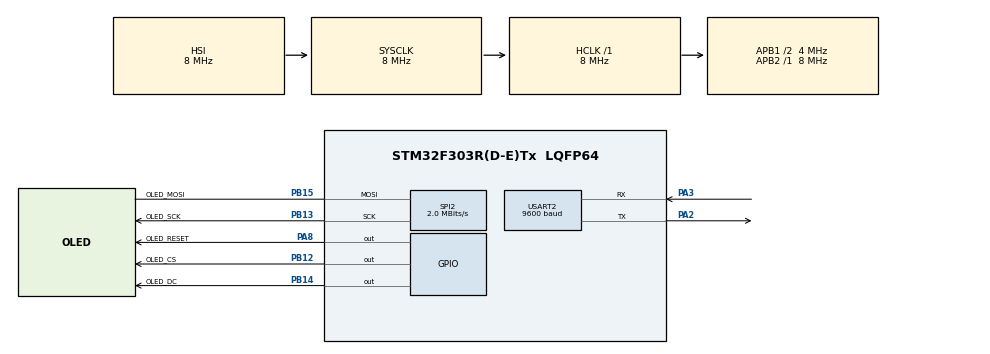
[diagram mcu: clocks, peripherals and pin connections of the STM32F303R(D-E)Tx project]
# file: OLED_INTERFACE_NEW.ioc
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Dma.Request0=SPI2_TX
Dma.Request1=USART2_RX
Dma.Request2=USART2_TX
Dma.SPI2_TX.0.Direction=DMA_MEMORY_TO_PERIPH
Dma.SPI2_TX.0.Instance=DMA1_Channel5
Dma.SPI2_TX.0.MemDataAlignment=DMA_MDATAALIGN_BYTE
Dma.SPI2_TX.0.MemInc=DMA_MINC_ENABLE
Dma.SPI2_TX.0.Mode=DMA_NORMAL
Dma.SPI2_TX.0.PeriphDataAlignment=DMA_PDATAALIGN_BYTE
Dma.SPI2_TX.0.PeriphInc=DMA_PINC_DISABLE
Dma.SPI2_TX.0.Priority=DMA_PRIORITY_LOW
Dma.USART2_RX.1.Direction=DMA_PERIPH_TO_MEMORY
Dma.USART2_RX.1.Instance=DMA1_Channel6
Dma.USART2_RX.1.MemDataAlignment=DMA_MDATAALIGN_BYTE
Dma.USART2_RX.1.MemInc=DMA_MINC_ENABLE
Dma.USART2_RX.1.Mode=DMA_NORMAL
Dma.USART2_RX.1.PeriphDataAlignment=DMA_PDATAALIGN_BYTE
Dma.USART2_RX.1.PeriphInc=DMA_PINC_DISABLE
Dma.USART2_RX.1.Priority=DMA_PRIORITY_LOW
Dma.USART2_TX.2.Direction=DMA_MEMORY_TO_PERIPH
Dma.USART2_TX.2.Instance=DMA1_Channel7
Dma.USART2_TX.2.MemDataAlignment=DMA_MDATAALIGN_BYTE
Dma.USART2_TX.2.MemInc=DMA_MINC_ENABLE
Dma.USART2_TX.2.Mode=DMA_NORMAL
Dma.USART2_TX.2.PeriphDataAlignment=DMA_PDATAALIGN_BYTE
Dma.USART2_TX.2.PeriphInc=DMA_PINC_DISABLE
Dma.USART2_TX.2.Priority=DMA_PRIORITY_LOW
Mcu.Family=STM32F3
Mcu.Name=STM32F303R(D-E)Tx
Mcu.Package=LQFP64
NVIC.DMA1_Channel5_IRQn=true\:0\:0\:false\:false\:true\:false\:true
NVIC.DMA1_Channel6_IRQn=true\:0\:0\:false\:false\:true\:false\:true
NVIC.DMA1_Channel7_IRQn=true\:0\:0\:false\:false\:true\:false\:true
NVIC.PriorityGroup=NVIC_PRIORITYGROUP_4
NVIC.SPI2_IRQn=true\:0\:0\:false\:false\:true\:true\:true
NVIC.USART2_IRQn=true\:0\:0\:false\:false\:true\:true\:true
PA2.Mode=Asynchronous
PA2.Signal=USART2_TX
PA3.Mode=Asynchronous
PA3.Signal=USART2_RX
PA8.GPIO_Label=OLED_RESET
PA8.Signal=GPIO_Output
PB12.GPIO_Label=OLED_CS
PB12.Signal=GPIO_Output
PB13.GPIO_Label=OLED_SCK
PB13.Mode=Simplex_Bidirectional_Master
PB13.Signal=SPI2_SCK
PB14.GPIO_Label=OLED_DC
PB14.Signal=GPIO_Output
PB15.GPIO_Label=OLED_MOSI
PB15.Mode=Simplex_Bidirectional_Master
PB15.Signal=SPI2_MOSI
ProjectManager.HeapSize=0x200
ProjectManager.StackSize=0x400
ProjectManager.TargetToolchain=TrueSTUDIO
RCC.AHBFreq_Value=8000000
RCC.APB1CLKDivider=RCC_HCLK_DIV2
RCC.APB1Freq_Value=4000000
RCC.APB1TimFreq_Value=8000000
RCC.APB2Freq_Value=8000000
RCC.CortexFreq_Value=8000000
RCC.HSE_VALUE=8000000
RCC.HSI_VALUE=8000000
RCC.LSE_VALUE=32768
RCC.SYSCLKFreq_VALUE=8000000
RCC.USBFreq_Value=16000000
SPI2.CalculateBaudRate=2.0 MBits/s
SPI2.DataSize=SPI_DATASIZE_8BIT
SPI2.Direction=SPI_DIRECTION_1LINE
SPI2.Mode=SPI_MODE_MASTER
SPI2.VirtualType=VM_MASTER
USART2.BaudRate=9600
USART2.VirtualMode-Asynchronous=VM_ASYNC
board=custom

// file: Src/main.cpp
/* USER CODE BEGIN Header */
/**
  ******************************************************************************
  * @file           : main.c
  * @brief          : Main program body
  ******************************************************************************
  * @attention
  *
  * <h2><center>&copy; Copyright (c) 2020 STMicroelectronics.
  * All rights reserved.</center></h2>
  *
  * This software component is licensed by ST under BSD 3-Clause license,
  * the "License"; You may not use this file except in compliance with the
  * License. You may obtain a copy of the License at:
  *                        opensource.org/licenses/BSD-3-Clause
  *
  ******************************************************************************
  */
/* USER CODE END Header */

#include "main.h"
#include "dma.h"
#include "spi.h"
#include "usart.h"
#include "gpio.h"

/* USER CODE BEGIN Includes */
#include "SSD1306_font.h"
#include "SSD1306.h"
#include "Interface1_manager.h"
/* USER CODE END Includes */

/* USER CODE BEGIN PV */
SSD1306 oled;
Interface1_manager interface;
/* USER CODE END PV */

void SystemClock_Config(void);
/* USER CODE BEGIN PFP */
void send_string(char* s){
 HAL_UART_Transmit(&huart2, (uint8_t*)s, strlen(s), 1000);
}

void send_char(char c){
 HAL_UART_Transmit(&huart2, (uint8_t*)&c, 1, 1000);
}

int __io_putchar(int ch){
	 if (ch == '\n')
	 send_char('\r');
	 send_char(ch);
	 return ch;
}

void HAL_UART_RxCpltCallback(UART_HandleTypeDef *huart) {
	interface.interrupt();
}
/* USER CODE END PFP */
int a;

int main(void)
{

  /* MCU Configuration--------------------------------------------------------*/

  /* Reset of all peripherals, Initializes the Flash interface and the Systick. */
  HAL_Init();

  /* Configure the system clock */
  SystemClock_Config();

  /* Initialize all configured peripherals */
  MX_GPIO_Init();
  MX_DMA_Init();
  MX_SPI2_Init();
  MX_USART2_UART_Init();
  /* USER CODE BEGIN 2 */
  oled.ssd1306_Init();
   oled.ssd1306_Fill(White);
   oled.ssd1306_SetCursor(5,0);
   oled.ssd1306_WriteString("TEST TEST TEST",Font_7x10,Black);
   oled.ssd1306_SetCursor(5,10);
   oled.ssd1306_WriteString("TEST TEST TEST Test",Font_7x10,Black);

   //HAL_Delay(1000);
   oled.ssd1306_UpdateScreen();
   interface.init();
  /* USER CODE END 2 */

  /* Infinite loop */
  while (1)
  {

  }
}

void SystemClock_Config(void)
{
  RCC_OscInitTypeDef RCC_OscInitStruct = {0};
  RCC_ClkInitTypeDef RCC_ClkInitStruct = {0};
  RCC_PeriphCLKInitTypeDef PeriphClkInit = {0};

  /** Initializes the CPU, AHB and APB busses clocks
  */
  RCC_OscInitStruct.OscillatorType = RCC_OSCILLATORTYPE_HSI;
  RCC_OscInitStruct.HSIState = RCC_HSI_ON;
  RCC_OscInitStruct.HSICalibrationValue = RCC_HSICALIBRATION_DEFAULT;
  RCC_OscInitStruct.PLL.PLLState = RCC_PLL_NONE;
  if (HAL_RCC_OscConfig(&RCC_OscInitStruct) != HAL_OK)
  {
    Error_Handler();
  }
  /** Initializes the CPU, AHB and APB busses clocks
  */
  RCC_ClkInitStruct.ClockType = RCC_CLOCKTYPE_HCLK|RCC_CLOCKTYPE_SYSCLK
                              |RCC_CLOCKTYPE_PCLK1|RCC_CLOCKTYPE_PCLK2;
  RCC_ClkInitStruct.SYSCLKSource = RCC_SYSCLKSOURCE_HSI;
  RCC_ClkInitStruct.AHBCLKDivider = RCC_SYSCLK_DIV1;
  RCC_ClkInitStruct.APB1CLKDivider = RCC_HCLK_DIV2;
  RCC_ClkInitStruct.APB2CLKDivider = RCC_HCLK_DIV1;

  if (HAL_RCC_ClockConfig(&RCC_ClkInitStruct, FLASH_LATENCY_0) != HAL_OK)
  {
    Error_Handler();
  }
  PeriphClkInit.PeriphClockSelection = RCC_PERIPHCLK_USART2;
  PeriphClkInit.Usart2ClockSelection = RCC_USART2CLKSOURCE_PCLK1;
  if (HAL_RCCEx_PeriphCLKConfig(&PeriphClkInit) != HAL_OK)
  {
    Error_Handler();
  }
}

void Error_Handler(void)
{
}

/************************ (C) COPYRIGHT STMicroelectronics *****END OF FILE****/
